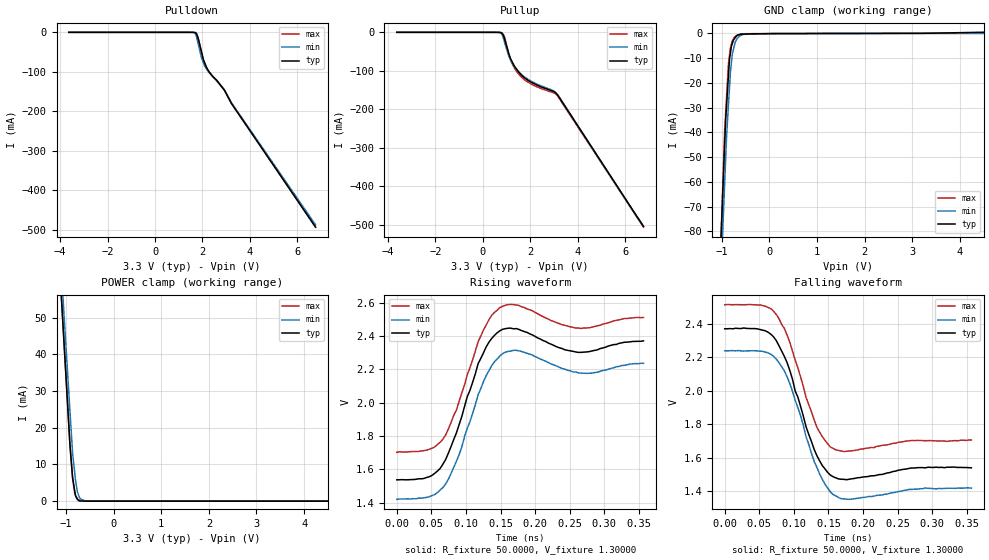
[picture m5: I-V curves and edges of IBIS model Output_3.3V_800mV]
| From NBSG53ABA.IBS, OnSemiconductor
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[Model] Output_3.3V_800mV
Model_type Output_ECL
Vref=1.30000V
Rref=50.0000ohms
Cref=0.00000pF
Vmeas=1.95000V
C_comp 500.0fF 500.0fF 500.0fF
[Model Spec]
Vmeas 1.95325V  1.8292V  2.1072V
|Vref  1.30000V  1.1350V  1.4650V
|Rref  50ohms   50ohms   50ohms
|Cref  0.00pF   0.00pF   0.00pF
| variable typ   min   max
[Voltage Range]   3.30000V  3.13500V  3.46500V
[POWER Clamp Reference] 3.30000V  3.13500V  3.46500V
[Pullup Reference]   3.30000V  3.13500V  3.46500V
[Pulldown Reference]   3.30000V  3.13500V  3.46500V
[GND Clamp Reference]   0.00000V  0.00000V  0.00000V
[Temperature Range]  25   85   0
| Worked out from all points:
|   GND clamp passes 1 mA (typ) near -0.69 V on its own axis
|   POWER clamp passes 1 mA (typ) near -0.78 V on its own axis
|   falling waveform, R_fixture 50.0000, V_fixture 1.30000: 20-80 % time 38.3ps typ, 37.9ps min, 37.8ps max; typ from 2.37 V to 1.54 V
|   rising waveform, R_fixture 50.0000, V_fixture 1.30000: 20-80 % time 40.4ps typ, 41ps min, 39.7ps max; typ from 1.54 V to 2.37 V
[GND Clamp]
-3.3V     -1.415A    -1.34A     -1.377A
-1.023V   -84.87mA   -99.06mA   -85.41mA
-942mV    -45.21mA   -60.81mA   -39.4mA
-921.7mV  -35.26mA   -51.22mA   -32.53mA
-901.3mV  -29.04mA   -41.61mA   -25.64mA
-861.1mV  -16.75mA   -28.61mA   -12.03mA
-841mV    -10.61mA   -22.12mA   -8.898mA
-820.9mV  -7.934mA   -15.62mA   -5.756mA
-780.5mV  -4.005mA   -8.315mA   -2.949mA
-679.2mV  -888uA     -2.011mA   -648uA
61.72mV   -57.95uA   -46.75uA   -66uA
6.6V      1.235mA    57.49uA    37.43uA
[Pulldown]
-3.63V    36.77uA    88.44uA    36.77uA
1.536V    17.24uA    23.06uA    17.24uA
1.672V    -348.9uA   -1.93mA    -348.9uA
1.722V    -1.524mA   -7.056mA   -1.524mA
1.817V    -14.54mA   -28.61mA   -14.54mA
1.956V    -48.91mA   -63.8mA    -48.91mA
2.04V     -69.72mA   -76.92mA   -69.72mA
2.181V    -90.43mA   -93.36mA   -90.43mA
2.277V    -99.86mA   -101.7mA   -99.86mA
2.932V    -147mA     -147mA     -147mA
3.219V    -179.7mA   -177.6mA   -179.7mA
6.765V    -492.9mA   -487.1mA   -492.9mA
[Pullup]
-3.63V    38.74uA    63.2uA     58.24uA
568.5mV   -29.69uA   36uA       37.78uA
801.8mV   -1.834mA   -5.235mA   -1.893mA
917.3mV   -18.92mA   -27.12mA   -13.38mA
1.099V    -57.59mA   -63.18mA   -58.91mA
1.2V      -72.92mA   -76.23mA   -77.25mA
1.377V    -92.26mA   -93.16mA   -97.87mA
1.62V     -111mA     -109.4mA   -116mA
1.898V    -124.6mA   -122.1mA   -129.3mA
2.96V     -153.2mA   -151.1mA   -156.5mA
3.138V    -161.6mA   -161.9mA   -164.4mA
6.765V    -504.2mA   -503.4mA   -505.8mA
[POWER Clamp]
-3.3V     546.4mA    528.9mA    555.5mA
-1.059V   46.85mA    54.46mA    47.33mA
-918.1mV  15.34mA    24.53mA    15.28mA
-862.5mV  6.416mA    13.06mA    6.237mA
-821.7mV  3.116mA    8.172mA    2.402mA
-801.9mV  1.515mA    5.799mA    1.529mA
-761.4mV  441.8uA    2.504mA    637uA
-721.2mV  38.03uA    1.063mA    331.9uA
-700.8mV  32.66uA    638.2uA    222.6uA
-619.9mV  11.32uA    144uA      89.53uA
-497.9mV  0A         11.8uA     25.23uA
6.6V      0A         0A         0A
[Falling Waveform]
R_fixture = 50.0000
V_fixture = 1.30000
V_fixture_min = 1.13500
V_fixture_max = 1.46500
0s        2.369V     2.237V     2.512V
58.8ps    2.357V     2.229V     2.503V
78.4ps    2.268V     2.167V     2.43V
94.1ps    2.121V     2.042V     2.288V
129.3ps   1.65V      1.578V     1.826V
141.1ps   1.553V     1.471V     1.725V
156.8ps   1.486V     1.379V     1.655V
180.3ps   1.471V     1.351V     1.639V
270.5ps   1.538V     1.41V      1.703V
356.7ps   1.539V     1.418V     1.704V
[Rising Waveform]
R_fixture = 50.0000
V_fixture = 1.30000
V_fixture_min = 1.13500
V_fixture_max = 1.46500
0s        1.538V     1.421V     1.703V
47ps      1.556V     1.437V     1.721V
70.5ps    1.658V     1.513V     1.805V
90.1ps    1.868V     1.688V     2.008V
117.6ps   2.234V     2.047V     2.366V
137.2ps   2.385V     2.222V     2.523V
152.9ps   2.44V      2.294V     2.577V
180.3ps   2.432V     2.307V     2.575V
262.6ps   2.301V     2.179V     2.447V
356.7ps   2.37V      2.236V     2.511V
[Ramp]
| variable typ min max
dV/dt_r 495.768m/39.9757p 492.076m/40.7592p 483.042m/39.4386p
dV/dt_f 495.768m/37.8171p 492.076m/38.0812p 483.042m/37.4234p
R_load = 50.0000Ohms
